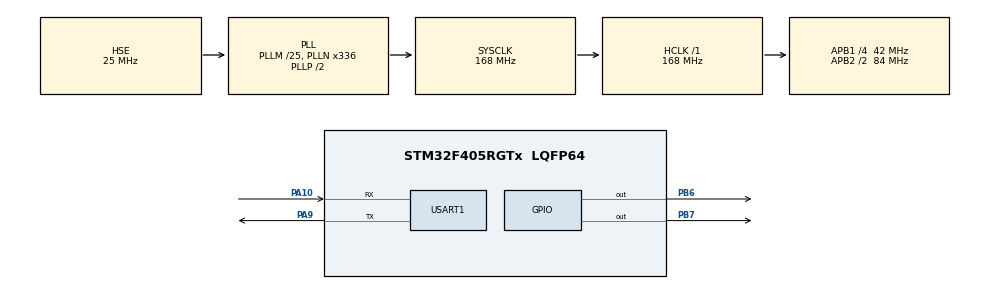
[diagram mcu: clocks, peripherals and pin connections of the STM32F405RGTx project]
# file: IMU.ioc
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Dma.Request0=USART1_RX
Dma.Request1=USART1_TX
Dma.USART1_RX.0.Direction=DMA_PERIPH_TO_MEMORY
Dma.USART1_RX.0.FIFOMode=DMA_FIFOMODE_DISABLE
Dma.USART1_RX.0.Instance=DMA2_Stream2
Dma.USART1_RX.0.MemDataAlignment=DMA_MDATAALIGN_BYTE
Dma.USART1_RX.0.MemInc=DMA_MINC_ENABLE
Dma.USART1_RX.0.Mode=DMA_NORMAL
Dma.USART1_RX.0.PeriphDataAlignment=DMA_PDATAALIGN_BYTE
Dma.USART1_RX.0.PeriphInc=DMA_PINC_DISABLE
Dma.USART1_RX.0.Priority=DMA_PRIORITY_LOW
Dma.USART1_TX.1.Direction=DMA_MEMORY_TO_PERIPH
Dma.USART1_TX.1.FIFOMode=DMA_FIFOMODE_DISABLE
Dma.USART1_TX.1.Instance=DMA2_Stream7
Dma.USART1_TX.1.MemDataAlignment=DMA_MDATAALIGN_BYTE
Dma.USART1_TX.1.MemInc=DMA_MINC_ENABLE
Dma.USART1_TX.1.Mode=DMA_NORMAL
Dma.USART1_TX.1.PeriphDataAlignment=DMA_PDATAALIGN_BYTE
Dma.USART1_TX.1.PeriphInc=DMA_PINC_DISABLE
Dma.USART1_TX.1.Priority=DMA_PRIORITY_LOW
FREERTOS.Tasks01=defaultTask,24,128,StartDefaultTask,Default,NULL,Dynamic,NULL,NULL;myTask02,32,256,tskIMU,Default,NULL,Dynamic,NULL,NULL;myTask03,25,256,tskVOFA,Default,NULL,Dynamic,NULL,NULL
Mcu.Family=STM32F4
Mcu.Name=STM32F405RGTx
Mcu.Package=LQFP64
NVIC.DMA2_Stream2_IRQn=true\:5\:0\:false\:false\:true\:true\:false\:true\:true
NVIC.DMA2_Stream7_IRQn=true\:5\:0\:false\:false\:true\:true\:false\:true\:true
NVIC.PriorityGroup=NVIC_PRIORITYGROUP_4
NVIC.TIM7_IRQn=true\:15\:0\:false\:false\:true\:false\:false\:true\:true
NVIC.TimeBase=TIM7_IRQn
NVIC.TimeBaseIP=TIM7
NVIC.USART1_IRQn=true\:5\:0\:false\:false\:true\:true\:false\:true\:true
PA10.Mode=Asynchronous
PA10.Signal=USART1_RX
PA13.Mode=Serial_Wire
PA13.Signal=SYS_JTMS-SWDIO
PA14.Mode=Serial_Wire
PA14.Signal=SYS_JTCK-SWCLK
PA9.Mode=Asynchronous
PA9.Signal=USART1_TX
PB6.GPIO_ModeDefaultOutputPP=GPIO_MODE_OUTPUT_OD
PB6.GPIO_PuPd=GPIO_PULLUP
PB6.GPIO_Speed=GPIO_SPEED_FREQ_VERY_HIGH
PB6.Signal=GPIO_Output
PB7.GPIO_ModeDefaultOutputPP=GPIO_MODE_OUTPUT_OD
PB7.GPIO_PuPd=GPIO_PULLUP
PB7.GPIO_Speed=GPIO_SPEED_FREQ_VERY_HIGH
PB7.Signal=GPIO_Output
PH0-OSC_IN.Mode=HSE-External-Oscillator
PH0-OSC_IN.Signal=RCC_OSC_IN
PH1-OSC_OUT.Mode=HSE-External-Oscillator
PH1-OSC_OUT.Signal=RCC_OSC_OUT
ProjectManager.HeapSize=0x200
ProjectManager.StackSize=0x400
ProjectManager.TargetToolchain=MDK-ARM V5.32
RCC.48MHZClocksFreq_Value=84000000
RCC.AHBFreq_Value=168000000
RCC.APB1CLKDivider=RCC_HCLK_DIV4
RCC.APB1Freq_Value=42000000
RCC.APB1TimFreq_Value=84000000
RCC.APB2CLKDivider=RCC_HCLK_DIV2
RCC.APB2Freq_Value=84000000
RCC.APB2TimFreq_Value=168000000
RCC.CortexFreq_Value=168000000
RCC.HCLKFreq_Value=168000000
RCC.HSE_VALUE=25000000
RCC.HSI_VALUE=16000000
RCC.LSE_VALUE=32768
RCC.PLLM=25
RCC.PLLN=336
RCC.PLLSourceVirtual=RCC_PLLSOURCE_HSE
RCC.SYSCLKFreq_VALUE=168000000
RCC.SYSCLKSource=RCC_SYSCLKSOURCE_PLLCLK
RCC.VCOOutputFreq_Value=336000000
USART1.VirtualMode=VM_ASYNC
VP_FREERTOS_VS_CMSIS_V2.Mode=CMSIS_V2
VP_SYS_VS_tim7.Mode=TIM7
board=custom

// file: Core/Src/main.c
/* USER CODE BEGIN Header */
/**
  ******************************************************************************
  * @file           : main.c
  * @brief          : Main program body
  ******************************************************************************
  * @attention
  *
  * Copyright (c) 2026 STMicroelectronics.
  * All rights reserved.
  *
  * This software is licensed under terms that can be found in the LICENSE file
  * in the root directory of this software component.
  * If no LICENSE file comes with this software, it is provided AS-IS.
  *
  ******************************************************************************
  */
/* USER CODE END Header */
#include "main.h"
#include "cmsis_os.h"
#include "dma.h"
#include "usart.h"
#include "gpio.h"

/* USER CODE BEGIN PV */
float data[3];
float gyro[3];
short accel[3];
int ret = 0;
MPU6050_Data_t mpu_data;
/* USER CODE END PV */

void SystemClock_Config(void);
void MX_FREERTOS_Init(void);

/* USER CODE BEGIN 0 */
void Vofa_Send_Data(float* vofa, uint32_t len)
{
    uint8_t tail[4] = {0x00, 0x00, 0x80, 0x7f};

    // 发送 float 数组
    HAL_UART_Transmit_DMA(&huart1, (uint8_t*)vofa, len * sizeof(float));
    // 等待 DMA 传输完成
    while (HAL_UART_GetState(&huart1) != HAL_UART_STATE_READY);

    // 发送帧尾
    HAL_UART_Transmit_DMA(&huart1, tail, 4);
    // 等待 DMA 传输完成
    while (HAL_UART_GetState(&huart1) != HAL_UART_STATE_READY);
}
/* USER CODE END 0 */

int main(void)
{

  /* MCU Configuration--------------------------------------------------------*/

  /* Reset of all peripherals, Initializes the Flash interface and the Systick. */
  HAL_Init();

  /* Configure the system clock */
  SystemClock_Config();

  /* Initialize all configured peripherals */
  MX_GPIO_Init();
  MX_DMA_Init();
  MX_USART1_UART_Init();
  /* USER CODE BEGIN 2 */

  MPU6050_Init(&mpu6050_cfg, &dmp_cfg);   // 使用默认配置
  MPU6050_SelfTest(1);
	// mpu_dmp_init();
  /* USER CODE END 2 */

  /* Init scheduler */
  osKernelInitialize();  /* Call init function for freertos objects (in cmsis_os2.c) */
  MX_FREERTOS_Init();

  /* Start scheduler */
  osKernelStart();

  /* We should never get here as control is now taken by the scheduler */

  /* Infinite loop */
  while (1)
  {

  }
}

void SystemClock_Config(void)
{
  RCC_OscInitTypeDef RCC_OscInitStruct = {0};
  RCC_ClkInitTypeDef RCC_ClkInitStruct = {0};

  /** Configure the main internal regulator output voltage
  */
  __HAL_RCC_PWR_CLK_ENABLE();
  __HAL_PWR_VOLTAGESCALING_CONFIG(PWR_REGULATOR_VOLTAGE_SCALE1);

  /** Initializes the RCC Oscillators according to the specified parameters
  * in the RCC_OscInitTypeDef structure.
  */
  RCC_OscInitStruct.OscillatorType = RCC_OSCILLATORTYPE_HSE;
  RCC_OscInitStruct.HSEState = RCC_HSE_ON;
  RCC_OscInitStruct.PLL.PLLState = RCC_PLL_ON;
  RCC_OscInitStruct.PLL.PLLSource = RCC_PLLSOURCE_HSE;
  RCC_OscInitStruct.PLL.PLLM = 25;
  RCC_OscInitStruct.PLL.PLLN = 336;
  RCC_OscInitStruct.PLL.PLLP = RCC_PLLP_DIV2;
  RCC_OscInitStruct.PLL.PLLQ = 4;
  if (HAL_RCC_OscConfig(&RCC_OscInitStruct) != HAL_OK)
  {
    Error_Handler();
  }

  /** Initializes the CPU, AHB and APB buses clocks
  */
  RCC_ClkInitStruct.ClockType = RCC_CLOCKTYPE_HCLK|RCC_CLOCKTYPE_SYSCLK
                              |RCC_CLOCKTYPE_PCLK1|RCC_CLOCKTYPE_PCLK2;
  RCC_ClkInitStruct.SYSCLKSource = RCC_SYSCLKSOURCE_PLLCLK;
  RCC_ClkInitStruct.AHBCLKDivider = RCC_SYSCLK_DIV1;
  RCC_ClkInitStruct.APB1CLKDivider = RCC_HCLK_DIV4;
  RCC_ClkInitStruct.APB2CLKDivider = RCC_HCLK_DIV2;

  if (HAL_RCC_ClockConfig(&RCC_ClkInitStruct, FLASH_LATENCY_5) != HAL_OK)
  {
    Error_Handler();
  }
}

void HAL_TIM_PeriodElapsedCallback(TIM_HandleTypeDef *htim)
{
  if (htim->Instance == TIM7)
  {
    HAL_IncTick();
  }
}

void Error_Handler(void)
{
  __disable_irq();
  while (1)
  {
  }
}

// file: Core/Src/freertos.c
/* USER CODE BEGIN Header */
/**
  ******************************************************************************
  * File Name          : freertos.c
  * Description        : Code for freertos applications
  ******************************************************************************
  * @attention
  *
  * Copyright (c) 2026 STMicroelectronics.
  * All rights reserved.
  *
  * This software is licensed under terms that can be found in the LICENSE file
  * in the root directory of this software component.
  * If no LICENSE file comes with this software, it is provided AS-IS.
  *
  ******************************************************************************
  */
/* USER CODE END Header */

#include "FreeRTOS.h"
#include "task.h"
#include "main.h"
#include "cmsis_os.h"

/* Definitions for defaultTask */
osThreadId_t defaultTaskHandle;
const osThreadAttr_t defaultTask_attributes = {
  .name = "defaultTask",
  .stack_size = 128 * 4,
  .priority = (osPriority_t) osPriorityNormal,
};
/* Definitions for myTask02 */
osThreadId_t myTask02Handle;
const osThreadAttr_t myTask02_attributes = {
  .name = "myTask02",
  .stack_size = 256 * 4,
  .priority = (osPriority_t) osPriorityAboveNormal,
};
/* Definitions for myTask03 */
osThreadId_t myTask03Handle;
const osThreadAttr_t myTask03_attributes = {
  .name = "myTask03",
  .stack_size = 256 * 4,
  .priority = (osPriority_t) osPriorityNormal1,
};

void StartDefaultTask(void *argument);
void tskIMU(void *argument);
void tskVOFA(void *argument);

void MX_FREERTOS_Init(void); /* (MISRA C 2004 rule 8.1) */

void MX_FREERTOS_Init(void) {

  /* Create the thread(s) */
  /* creation of defaultTask */
  defaultTaskHandle = osThreadNew(StartDefaultTask, NULL, &defaultTask_attributes);

  /* creation of myTask02 */
  myTask02Handle = osThreadNew(tskIMU, NULL, &myTask02_attributes);

  /* creation of myTask03 */
  myTask03Handle = osThreadNew(tskVOFA, NULL, &myTask03_attributes);

}

void StartDefaultTask(void *argument)
{
  for(;;)
  {
    osDelay(1);
  }
}

void tskIMU(void *argument)
{
  /* USER CODE BEGIN tskIMU */

  uint32_t previouswaken = osKernelGetTickCount();
  /* Infinite loop */
  for(;;)
  {
    MPU6050_ReadDMP(&mpu_data);
    vTaskDelayUntil(&previouswaken, pdMS_TO_TICKS(2));
  }
  /* USER CODE END tskIMU */
}

void tskVOFA(void *argument)
{
  /* USER CODE BEGIN tskVOFA */
  float vofa[6];
  uint32_t previouswaken = xTaskGetTickCount();
  /* Infinite loop */
  for(;;)
  {
    vofa[0] = mpu_data.accel[0];
    vofa[1] = mpu_data.accel[1];
    vofa[2] = mpu_data.accel[2];
    vofa[3] = mpu_data.gyro[0];
    vofa[4] = mpu_data.gyro[1];
    vofa[5] = mpu_data.gyro[2];
    Vofa_Send_Data(vofa, 6);
    vTaskDelayUntil(&previouswaken, pdMS_TO_TICKS(2));
  }
  /* USER CODE END tskVOFA */
}
